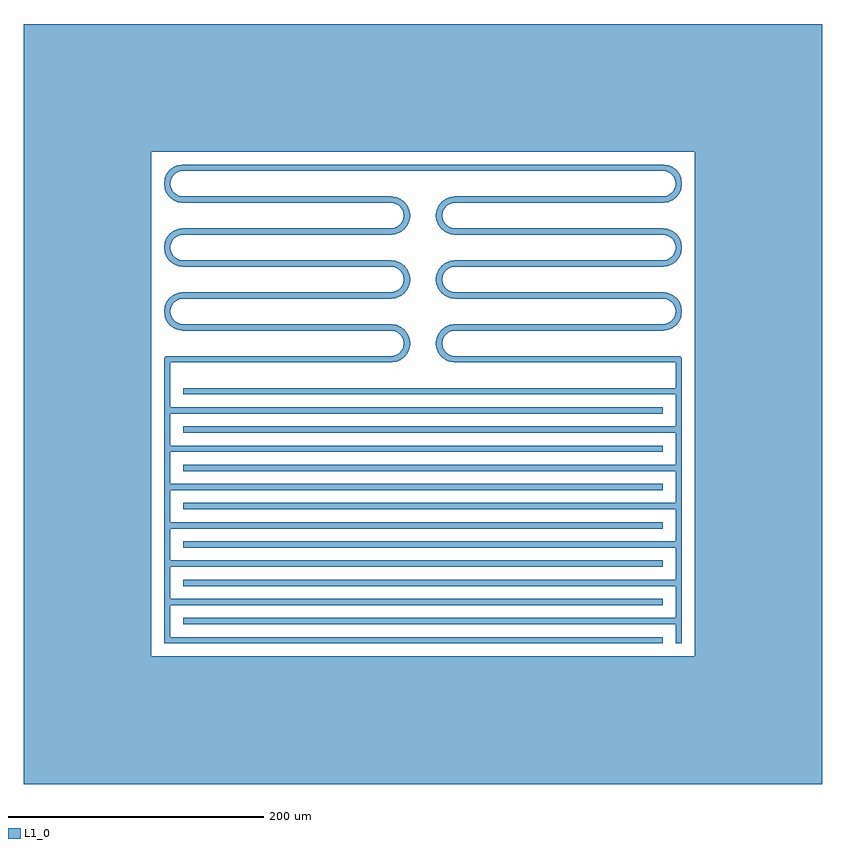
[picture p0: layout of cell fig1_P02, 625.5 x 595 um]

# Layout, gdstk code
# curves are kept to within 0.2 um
import gdstk
lib = gdstk.Library(unit=1e-6, precision=1e-09)
def R(c, l, rs):  # rectangles x0, y0, x1, y1
    for r in rs: c.add(gdstk.rectangle(r[:2], r[2:], *l))
def A(c, l, x, y, w, h, nx, ny, dx, dy):  # array of equal rectangles
    R(c, l, [(x+i*dx, y+j*dy, x+i*dx+w, y+j*dy+h) for i in range(nx) for j in range(ny)])
def P(c, l, *ps):  # polygons
    for p in ps: c.add(gdstk.Polygon(p, *l))
L1_0 = (1, 0)

fig1_p02 = lib.new_cell('fig1_P02')
A(fig1_p02, L1_0, -202.749, 0, 390.498, 5, 1, 7, 0, 30)
A(fig1_p02, L1_0, -187.749, 15, 390.498, 5, 1, 7, 0, 30)
A(fig1_p02, L1_0, -187.749, 245, 162.749, 5, 1, 5, 0, 25)
A(fig1_p02, L1_0, 25, 245, 162.749, 5, 1, 5, 0, 25)
R(fig1_p02, L1_0, [(-312.749,-110,312.749,-10), (-312.749,-10,-212.749,385), (212.749,-10,312.749,385), (-202.749,0,-197.749,200), (197.749,0,202.749,200), (-202.749,197.5,-197.749,222.5), (197.749,197.5,202.749,222.5), (-200.249,220,-25,225), (25,220,200.249,225), (-187.749,370,187.749,375), (-312.749,385,312.749,485)])
P(fig1_p02, L1_0, [(14.979,334.674),(10.021,335.326),(10.447,338.562),(15.405,337.909)],
  [(12.926,335.735),(11.158,336.467),(10.426,338.235),(11.158,340.003),(12.926,340.735),(14.694,340.003),(15.426,338.235),(14.694,336.467)],
  [(12.5,332.5),(10.732,333.232),(10,335),(10.732,336.768),(12.5,337.5),(14.268,336.768),(15,335),(14.268,333.232)],
  [(195.521,347.191),(192.477,351.158),(195.066,353.145),(198.11,349.178)],
  [(191.941,345.616),(190.028,350.236),(193.042,351.484),(194.956,346.865)],
  [(188.075,345.021),(187.423,349.979),(190.658,350.405),(191.311,345.447)],
  [(190.658,369.595),(187.423,370.021),(188.075,374.979),(191.311,374.553)],
  [(193.042,368.516),(190.028,369.764),(191.941,374.384),(194.956,373.135)],
  [(195.066,366.855),(192.477,368.842),(195.521,372.809),(198.11,370.822)],
  [(196.591,364.728),(194.604,367.317),(198.571,370.361),(200.558,367.772)],
  [(197.513,362.279),(196.265,365.293),(200.884,367.207),(202.133,364.192)],
  [(197.77,359.674),(197.344,362.909),(202.302,363.562),(202.728,360.326)],
  [(202.302,356.438),(197.344,357.091),(197.77,360.326),(202.728,359.674)],
  [(187.749,370),(185.981,370.732),(185.249,372.5),(185.981,374.268),(187.749,375),(189.517,374.268),(190.249,372.5),(189.517,370.732)],
  [(190.984,369.574),(189.216,370.306),(188.484,372.074),(189.216,373.842),(190.984,374.574),(192.752,373.842),(193.484,372.074),(192.752,370.306)],
  [(193.999,368.325),(192.231,369.058),(191.499,370.825),(192.231,372.593),(193.999,373.325),(195.767,372.593),(196.499,370.825),(195.767,369.058)],
  [(196.588,366.339),(194.82,367.071),(194.088,368.839),(194.82,370.607),(196.588,371.339),(198.356,370.607),(199.088,368.839),(198.356,367.071)],
  [(198.574,363.75),(196.807,364.482),(196.074,366.25),(196.807,368.018),(198.574,368.75),(200.342,368.018),(201.074,366.25),(200.342,364.482)],
  [(199.823,360.735),(198.055,361.467),(197.323,363.235),(198.055,365.003),(199.823,365.735),(201.591,365.003),(202.323,363.235),(201.591,361.467)],
  [(200.249,357.5),(198.481,358.232),(197.749,360),(198.481,361.768),(200.249,362.5),(202.017,361.768),(202.749,360),(202.017,358.232)],
  [(199.823,354.265),(198.055,354.997),(197.323,356.765),(198.055,358.533),(199.823,359.265),(201.591,358.533),(202.323,356.765),(201.591,354.997)],
  [(198.574,351.25),(196.807,351.982),(196.074,353.75),(196.807,355.518),(198.574,356.25),(200.342,355.518),(201.074,353.75),(200.342,351.982)],
  [(196.588,348.661),(194.82,349.393),(194.088,351.161),(194.82,352.929),(196.588,353.661),(198.356,352.929),(199.088,351.161),(198.356,349.393)],
  [(193.999,346.675),(192.231,347.407),(191.499,349.175),(192.231,350.942),(193.999,351.675),(195.767,350.942),(196.499,349.175),(195.767,347.407)],
  [(190.984,345.426),(189.216,346.158),(188.484,347.926),(189.216,349.694),(190.984,350.426),(192.752,349.694),(193.484,347.926),(192.752,346.158)],
  [(187.749,345),(185.981,345.732),(185.249,347.5),(185.981,349.268),(187.749,350),(189.517,349.268),(190.249,347.5),(189.517,345.732)],
  [(200.884,352.793),(196.265,354.707),(197.513,357.721),(202.133,355.808)],
  [(198.571,349.639),(194.604,352.683),(196.591,355.272),(200.558,352.228)],
  [(19.707,343.516),(17.793,348.135),(20.808,349.384),(22.721,344.764)],
  [(17.683,341.855),(14.639,345.822),(17.228,347.809),(20.272,343.842)],
  [(16.158,339.728),(12.191,342.772),(14.178,345.361),(18.145,342.317)],
  [(25,345),(23.232,345.732),(22.5,347.5),(23.232,349.268),(25,350),(26.768,349.268),(27.5,347.5),(26.768,345.732)],
  [(21.765,344.574),(19.997,345.306),(19.265,347.074),(19.997,348.842),(21.765,349.574),(23.533,348.842),(24.265,347.074),(23.533,345.306)],
  [(18.75,343.325),(16.982,344.058),(16.25,345.825),(16.982,347.593),(18.75,348.325),(20.518,347.593),(21.25,345.825),(20.518,344.058)],
  [(16.161,341.339),(14.393,342.071),(13.661,343.839),(14.393,345.607),(16.161,346.339),(17.929,345.607),(18.661,343.839),(17.929,342.071)],
  [(14.175,338.75),(12.407,339.482),(11.675,341.25),(12.407,343.018),(14.175,343.75),(15.942,343.018),(16.675,341.25),(15.942,339.482)],
  [(15.236,337.279),(10.616,339.192),(11.865,342.207),(16.484,340.293)],
  [(22.091,344.595),(21.438,349.553),(24.674,349.979),(25.326,345.021)],
  [(16.158,239.728),(12.191,242.772),(14.178,245.361),(18.145,242.317)],
  [(15.236,237.279),(10.616,239.192),(11.865,242.207),(16.484,240.293)],
  [(14.979,234.674),(10.021,235.326),(10.447,238.562),(15.405,237.909)],
  [(10.447,231.438),(10.021,234.674),(14.979,235.326),(15.405,232.091)],
  [(11.865,227.793),(10.616,230.808),(15.236,232.721),(16.484,229.707)],
  [(14.178,224.639),(12.191,227.228),(16.158,230.272),(18.145,227.683)],
  [(17.228,222.191),(14.639,224.178),(17.683,228.145),(20.272,226.158)],
  [(20.808,220.616),(17.793,221.865),(19.707,226.484),(22.721,225.236)],
  [(24.674,220.021),(21.438,220.447),(22.091,225.405),(25.326,224.979)],
  [(20.808,320.616),(17.793,321.865),(19.707,326.484),(22.721,325.236)],
  [(24.674,320.021),(21.438,320.447),(22.091,325.405),(25.326,324.979)],
  [(10.447,331.438),(10.021,334.674),(14.979,335.326),(15.405,332.091)],
  [(11.865,327.793),(10.616,330.808),(15.236,332.721),(16.484,329.707)],
  [(22.091,294.595),(21.438,299.553),(24.674,299.979),(25.326,295.021)],
  [(19.707,293.516),(17.793,298.135),(20.808,299.384),(22.721,294.764)],
  [(17.683,291.855),(14.639,295.822),(17.228,297.809),(20.272,293.842)],
  [(16.158,289.728),(12.191,292.772),(14.178,295.361),(18.145,292.317)],
  [(15.236,287.279),(10.616,289.192),(11.865,292.207),(16.484,290.293)],
  [(14.979,284.674),(10.021,285.326),(10.447,288.562),(15.405,287.909)],
  [(10.447,281.438),(10.021,284.674),(14.979,285.326),(15.405,282.091)],
  [(11.865,277.793),(10.616,280.808),(15.236,282.721),(16.484,279.707)],
  [(14.178,274.639),(12.191,277.228),(16.158,280.272),(18.145,277.683)],
  [(17.228,272.191),(14.639,274.178),(17.683,278.145),(20.272,276.158)],
  [(20.808,270.616),(17.793,271.865),(19.707,276.484),(22.721,275.236)],
  [(24.674,270.021),(21.438,270.447),(22.091,275.405),(25.326,274.979)],
  [(14.178,324.639),(12.191,327.228),(16.158,330.272),(18.145,327.683)],
  [(17.228,322.191),(14.639,324.178),(17.683,328.145),(20.272,326.158)],
  [(22.091,244.595),(21.438,249.553),(24.674,249.979),(25.326,245.021)],
  [(19.707,243.516),(17.793,248.135),(20.808,249.384),(22.721,244.764)],
  [(17.683,241.855),(14.639,245.822),(17.228,247.809),(20.272,243.842)],
  [(12.926,329.265),(11.158,329.997),(10.426,331.765),(11.158,333.533),(12.926,334.265),(14.694,333.533),(15.426,331.765),(14.694,329.997)],
  [(14.175,326.25),(12.407,326.982),(11.675,328.75),(12.407,330.518),(14.175,331.25),(15.942,330.518),(16.675,328.75),(15.942,326.982)],
  [(16.161,323.661),(14.393,324.393),(13.661,326.161),(14.393,327.929),(16.161,328.661),(17.929,327.929),(18.661,326.161),(17.929,324.393)],
  [(18.75,321.675),(16.982,322.407),(16.25,324.175),(16.982,325.942),(18.75,326.675),(20.518,325.942),(21.25,324.175),(20.518,322.407)],
  [(21.765,320.426),(19.997,321.158),(19.265,322.926),(19.997,324.694),(21.765,325.426),(23.533,324.694),(24.265,322.926),(23.533,321.158)],
  [(25,320),(23.232,320.732),(22.5,322.5),(23.232,324.268),(25,325),(26.768,324.268),(27.5,322.5),(26.768,320.732)],
  [(25,295),(23.232,295.732),(22.5,297.5),(23.232,299.268),(25,300),(26.768,299.268),(27.5,297.5),(26.768,295.732)],
  [(21.765,294.574),(19.997,295.306),(19.265,297.074),(19.997,298.842),(21.765,299.574),(23.533,298.842),(24.265,297.074),(23.533,295.306)],
  [(18.75,293.325),(16.982,294.058),(16.25,295.825),(16.982,297.593),(18.75,298.325),(20.518,297.593),(21.25,295.825),(20.518,294.058)],
  [(16.161,291.339),(14.393,292.071),(13.661,293.839),(14.393,295.607),(16.161,296.339),(17.929,295.607),(18.661,293.839),(17.929,292.071)],
  [(14.175,288.75),(12.407,289.482),(11.675,291.25),(12.407,293.018),(14.175,293.75),(15.942,293.018),(16.675,291.25),(15.942,289.482)],
  [(12.926,285.735),(11.158,286.467),(10.426,288.235),(11.158,290.003),(12.926,290.735),(14.694,290.003),(15.426,288.235),(14.694,286.467)],
  [(12.5,282.5),(10.732,283.232),(10,285),(10.732,286.768),(12.5,287.5),(14.268,286.768),(15,285),(14.268,283.232)],
  [(12.926,279.265),(11.158,279.997),(10.426,281.765),(11.158,283.533),(12.926,284.265),(14.694,283.533),(15.426,281.765),(14.694,279.997)],
  [(14.175,276.25),(12.407,276.982),(11.675,278.75),(12.407,280.518),(14.175,281.25),(15.942,280.518),(16.675,278.75),(15.942,276.982)],
  [(16.161,273.661),(14.393,274.393),(13.661,276.161),(14.393,277.929),(16.161,278.661),(17.929,277.929),(18.661,276.161),(17.929,274.393)],
  [(18.75,271.675),(16.982,272.407),(16.25,274.175),(16.982,275.942),(18.75,276.675),(20.518,275.942),(21.25,274.175),(20.518,272.407)],
  [(21.765,270.426),(19.997,271.158),(19.265,272.926),(19.997,274.694),(21.765,275.426),(23.533,274.694),(24.265,272.926),(23.533,271.158)],
  [(25,270),(23.232,270.732),(22.5,272.5),(23.232,274.268),(25,275),(26.768,274.268),(27.5,272.5),(26.768,270.732)],
  [(25,245),(23.232,245.732),(22.5,247.5),(23.232,249.268),(25,250),(26.768,249.268),(27.5,247.5),(26.768,245.732)],
  [(21.765,244.574),(19.997,245.306),(19.265,247.074),(19.997,248.842),(21.765,249.574),(23.533,248.842),(24.265,247.074),(23.533,245.306)],
  [(18.75,243.325),(16.982,244.058),(16.25,245.825),(16.982,247.593),(18.75,248.325),(20.518,247.593),(21.25,245.825),(20.518,244.058)],
  [(16.161,241.339),(14.393,242.071),(13.661,243.839),(14.393,245.607),(16.161,246.339),(17.929,245.607),(18.661,243.839),(17.929,242.071)],
  [(14.175,238.75),(12.407,239.482),(11.675,241.25),(12.407,243.018),(14.175,243.75),(15.942,243.018),(16.675,241.25),(15.942,239.482)],
  [(12.926,235.735),(11.158,236.467),(10.426,238.235),(11.158,240.003),(12.926,240.735),(14.694,240.003),(15.426,238.235),(14.694,236.467)],
  [(12.5,232.5),(10.732,233.232),(10,235),(10.732,236.768),(12.5,237.5),(14.268,236.768),(15,235),(14.268,233.232)],
  [(12.926,229.265),(11.158,229.997),(10.426,231.765),(11.158,233.533),(12.926,234.265),(14.694,233.533),(15.426,231.765),(14.694,229.997)],
  [(14.175,226.25),(12.407,226.982),(11.675,228.75),(12.407,230.518),(14.175,231.25),(15.942,230.518),(16.675,228.75),(15.942,226.982)],
  [(16.161,223.661),(14.393,224.393),(13.661,226.161),(14.393,227.929),(16.161,228.661),(17.929,227.929),(18.661,226.161),(17.929,224.393)],
  [(18.75,221.675),(16.982,222.407),(16.25,224.175),(16.982,225.942),(18.75,226.675),(20.518,225.942),(21.25,224.175),(20.518,222.407)],
  [(21.765,220.426),(19.997,221.158),(19.265,222.926),(19.997,224.694),(21.765,225.426),(23.533,224.694),(24.265,222.926),(23.533,221.158)],
  [(25,220),(23.232,220.732),(22.5,222.5),(23.232,224.268),(25,225),(26.768,224.268),(27.5,222.5),(26.768,220.732)],
  [(190.984,319.574),(189.216,320.306),(188.484,322.074),(189.216,323.842),(190.984,324.574),(192.752,323.842),(193.484,322.074),(192.752,320.306)],
  [(193.999,318.325),(192.231,319.058),(191.499,320.825),(192.231,322.593),(193.999,323.325),(195.767,322.593),(196.499,320.825),(195.767,319.058)],
  [(196.588,316.339),(194.82,317.071),(194.088,318.839),(194.82,320.607),(196.588,321.339),(198.356,320.607),(199.088,318.839),(198.356,317.071)],
  [(198.574,313.75),(196.807,314.482),(196.074,316.25),(196.807,318.018),(198.574,318.75),(200.342,318.018),(201.074,316.25),(200.342,314.482)],
  [(199.823,310.735),(198.055,311.467),(197.323,313.235),(198.055,315.003),(199.823,315.735),(201.591,315.003),(202.323,313.235),(201.591,311.467)],
  [(200.249,307.5),(198.481,308.232),(197.749,310),(198.481,311.768),(200.249,312.5),(202.017,311.768),(202.749,310),(202.017,308.232)],
  [(199.823,304.265),(198.055,304.997),(197.323,306.765),(198.055,308.533),(199.823,309.265),(201.591,308.533),(202.323,306.765),(201.591,304.997)],
  [(198.574,301.25),(196.807,301.982),(196.074,303.75),(196.807,305.518),(198.574,306.25),(200.342,305.518),(201.074,303.75),(200.342,301.982)],
  [(196.588,298.661),(194.82,299.393),(194.088,301.161),(194.82,302.929),(196.588,303.661),(198.356,302.929),(199.088,301.161),(198.356,299.393)],
  [(193.999,296.675),(192.231,297.407),(191.499,299.175),(192.231,300.942),(193.999,301.675),(195.767,300.942),(196.499,299.175),(195.767,297.407)],
  [(190.984,295.426),(189.216,296.158),(188.484,297.926),(189.216,299.694),(190.984,300.426),(192.752,299.694),(193.484,297.926),(192.752,296.158)],
  [(187.749,295),(185.981,295.732),(185.249,297.5),(185.981,299.268),(187.749,300),(189.517,299.268),(190.249,297.5),(189.517,295.732)],
  [(195.066,266.855),(192.477,268.842),(195.521,272.809),(198.11,270.822)],
  [(196.591,264.728),(194.604,267.317),(198.571,270.361),(200.558,267.772)],
  [(197.513,262.279),(196.265,265.293),(200.884,267.207),(202.133,264.192)],
  [(197.77,259.674),(197.344,262.909),(202.302,263.562),(202.728,260.326)],
  [(202.302,256.438),(197.344,257.091),(197.77,260.326),(202.728,259.674)],
  [(200.884,252.793),(196.265,254.707),(197.513,257.721),(202.133,255.808)],
  [(198.571,249.639),(194.604,252.683),(196.591,255.272),(200.558,252.228)],
  [(195.521,247.191),(192.477,251.158),(195.066,253.145),(198.11,249.178)],
  [(191.941,245.616),(190.028,250.236),(193.042,251.484),(194.956,246.865)],
  [(188.075,245.021),(187.423,249.979),(190.658,250.405),(191.311,245.447)],
  [(190.658,319.595),(187.423,320.021),(188.075,324.979),(191.311,324.553)],
  [(193.042,318.516),(190.028,319.764),(191.941,324.384),(194.956,323.135)],
  [(195.066,316.855),(192.477,318.842),(195.521,322.809),(198.11,320.822)],
  [(187.749,270),(185.981,270.732),(185.249,272.5),(185.981,274.268),(187.749,275),(189.517,274.268),(190.249,272.5),(189.517,270.732)],
  [(190.984,269.574),(189.216,270.306),(188.484,272.074),(189.216,273.842),(190.984,274.574),(192.752,273.842),(193.484,272.074),(192.752,270.306)],
  [(193.999,268.325),(192.231,269.058),(191.499,270.825),(192.231,272.593),(193.999,273.325),(195.767,272.593),(196.499,270.825),(195.767,269.058)],
  [(196.588,266.339),(194.82,267.071),(194.088,268.839),(194.82,270.607),(196.588,271.339),(198.356,270.607),(199.088,268.839),(198.356,267.071)],
  [(198.574,263.75),(196.807,264.482),(196.074,266.25),(196.807,268.018),(198.574,268.75),(200.342,268.018),(201.074,266.25),(200.342,264.482)],
  [(199.823,260.735),(198.055,261.467),(197.323,263.235),(198.055,265.003),(199.823,265.735),(201.591,265.003),(202.323,263.235),(201.591,261.467)],
  [(200.249,257.5),(198.481,258.232),(197.749,260),(198.481,261.768),(200.249,262.5),(202.017,261.768),(202.749,260),(202.017,258.232)],
  [(199.823,254.265),(198.055,254.997),(197.323,256.765),(198.055,258.533),(199.823,259.265),(201.591,258.533),(202.323,256.765),(201.591,254.997)],
  [(198.574,251.25),(196.807,251.982),(196.074,253.75),(196.807,255.518),(198.574,256.25),(200.342,255.518),(201.074,253.75),(200.342,251.982)],
  [(196.588,248.661),(194.82,249.393),(194.088,251.161),(194.82,252.929),(196.588,253.661),(198.356,252.929),(199.088,251.161),(198.356,249.393)],
  [(193.999,246.675),(192.231,247.407),(191.499,249.175),(192.231,250.942),(193.999,251.675),(195.767,250.942),(196.499,249.175),(195.767,247.407)],
  [(190.984,245.426),(189.216,246.158),(188.484,247.926),(189.216,249.694),(190.984,250.426),(192.752,249.694),(193.484,247.926),(192.752,246.158)],
  [(187.749,245),(185.981,245.732),(185.249,247.5),(185.981,249.268),(187.749,250),(189.517,249.268),(190.249,247.5),(189.517,245.732)],
  [(196.591,314.728),(194.604,317.317),(198.571,320.361),(200.558,317.772)],
  [(197.513,312.279),(196.265,315.293),(200.884,317.207),(202.133,314.192)],
  [(197.77,309.674),(197.344,312.909),(202.302,313.562),(202.728,310.326)],
  [(202.302,306.438),(197.344,307.091),(197.77,310.326),(202.728,309.674)],
  [(200.884,302.793),(196.265,304.707),(197.513,307.721),(202.133,305.808)],
  [(198.571,299.639),(194.604,302.683),(196.591,305.272),(200.558,302.228)],
  [(195.521,297.191),(192.477,301.158),(195.066,303.145),(198.11,299.178)],
  [(191.941,295.616),(190.028,300.236),(193.042,301.484),(194.956,296.865)],
  [(188.075,295.021),(187.423,299.979),(190.658,300.405),(191.311,295.447)],
  [(190.658,269.595),(187.423,270.021),(188.075,274.979),(191.311,274.553)],
  [(193.042,268.516),(190.028,269.764),(191.941,274.384),(194.956,273.135)],
  [(187.749,320),(185.981,320.732),(185.249,322.5),(185.981,324.268),(187.749,325),(189.517,324.268),(190.249,322.5),(189.517,320.732)],
  [(200.249,220),(198.481,220.732),(197.749,222.5),(198.481,224.268),(200.249,225),(202.017,224.268),(202.749,222.5),(202.017,220.732)],
  [(-12.5,332.5),(-14.268,333.232),(-15,335),(-14.268,336.768),(-12.5,337.5),(-10.732,336.768),(-10,335),(-10.732,333.232)],
  [(-12.926,335.735),(-14.694,336.467),(-15.426,338.235),(-14.694,340.003),(-12.926,340.735),(-11.158,340.003),(-10.426,338.235),(-11.158,336.467)],
  [(-14.979,334.674),(-15.405,337.909),(-10.447,338.562),(-10.021,335.326)],
  [(-18.75,343.325),(-20.518,344.058),(-21.25,345.825),(-20.518,347.593),(-18.75,348.325),(-16.982,347.593),(-16.25,345.825),(-16.982,344.058)],
  [(-21.765,344.574),(-23.533,345.306),(-24.265,347.074),(-23.533,348.842),(-21.765,349.574),(-19.997,348.842),(-19.265,347.074),(-19.997,345.306)],
  [(-25,345),(-26.768,345.732),(-27.5,347.5),(-26.768,349.268),(-25,350),(-23.232,349.268),(-22.5,347.5),(-23.232,345.732)],
  [(-14.175,338.75),(-15.942,339.482),(-16.675,341.25),(-15.942,343.018),(-14.175,343.75),(-12.407,343.018),(-11.675,341.25),(-12.407,339.482)],
  [(-15.236,337.279),(-16.484,340.293),(-11.865,342.207),(-10.616,339.192)],
  [(-16.158,339.728),(-18.145,342.317),(-14.178,345.361),(-12.191,342.772)],
  [(-17.683,341.855),(-20.272,343.842),(-17.228,347.809),(-14.639,345.822)],
  [(-19.707,343.516),(-22.721,344.764),(-20.808,349.384),(-17.793,348.135)],
  [(-22.091,344.595),(-25.326,345.021),(-24.674,349.979),(-21.438,349.553)],
  [(-16.161,341.339),(-17.929,342.071),(-18.661,343.839),(-17.929,345.607),(-16.161,346.339),(-14.393,345.607),(-13.661,343.839),(-14.393,342.071)],
  [(-187.749,370),(-189.517,370.732),(-190.249,372.5),(-189.517,374.268),(-187.749,375),(-185.981,374.268),(-185.249,372.5),(-185.981,370.732)],
  [(-187.749,345),(-189.517,345.732),(-190.249,347.5),(-189.517,349.268),(-187.749,350),(-185.981,349.268),(-185.249,347.5),(-185.981,345.732)],
  [(-190.984,345.426),(-192.752,346.158),(-193.484,347.926),(-192.752,349.694),(-190.984,350.426),(-189.216,349.694),(-188.484,347.926),(-189.216,346.158)],
  [(-193.999,346.675),(-195.767,347.407),(-196.499,349.175),(-195.767,350.942),(-193.999,351.675),(-192.231,350.942),(-191.499,349.175),(-192.231,347.407)],
  [(-196.588,348.661),(-198.356,349.393),(-199.088,351.161),(-198.356,352.929),(-196.588,353.661),(-194.82,352.929),(-194.088,351.161),(-194.82,349.393)],
  [(-198.574,351.25),(-200.342,351.982),(-201.074,353.75),(-200.342,355.518),(-198.574,356.25),(-196.807,355.518),(-196.074,353.75),(-196.807,351.982)],
  [(-199.823,354.265),(-201.591,354.997),(-202.323,356.765),(-201.591,358.533),(-199.823,359.265),(-198.055,358.533),(-197.323,356.765),(-198.055,354.997)],
  [(-200.249,357.5),(-202.017,358.232),(-202.749,360),(-202.017,361.768),(-200.249,362.5),(-198.481,361.768),(-197.749,360),(-198.481,358.232)],
  [(-199.823,360.735),(-201.591,361.467),(-202.323,363.235),(-201.591,365.003),(-199.823,365.735),(-198.055,365.003),(-197.323,363.235),(-198.055,361.467)],
  [(-198.574,363.75),(-200.342,364.482),(-201.074,366.25),(-200.342,368.018),(-198.574,368.75),(-196.807,368.018),(-196.074,366.25),(-196.807,364.482)],
  [(-196.588,366.339),(-198.356,367.071),(-199.088,368.839),(-198.356,370.607),(-196.588,371.339),(-194.82,370.607),(-194.088,368.839),(-194.82,367.071)],
  [(-193.999,368.325),(-195.767,369.058),(-196.499,370.825),(-195.767,372.593),(-193.999,373.325),(-192.231,372.593),(-191.499,370.825),(-192.231,369.058)],
  [(-190.984,369.574),(-192.752,370.306),(-193.484,372.074),(-192.752,373.842),(-190.984,374.574),(-189.216,373.842),(-188.484,372.074),(-189.216,370.306)],
  [(-188.075,345.021),(-191.311,345.447),(-190.658,350.405),(-187.423,349.979)],
  [(-191.941,345.616),(-194.956,346.865),(-193.042,351.484),(-190.028,350.236)],
  [(-195.521,347.191),(-198.11,349.178),(-195.066,353.145),(-192.477,351.158)],
  [(-198.571,349.639),(-200.558,352.228),(-196.591,355.272),(-194.604,352.683)],
  [(-200.884,352.793),(-202.133,355.808),(-197.513,357.721),(-196.265,354.707)],
  [(-202.302,356.438),(-202.728,359.674),(-197.77,360.326),(-197.344,357.091)],
  [(-197.77,359.674),(-202.728,360.326),(-202.302,363.562),(-197.344,362.909)],
  [(-197.513,362.279),(-202.133,364.192),(-200.884,367.207),(-196.265,365.293)],
  [(-196.591,364.728),(-200.558,367.772),(-198.571,370.361),(-194.604,367.317)],
  [(-195.066,366.855),(-198.11,370.822),(-195.521,372.809),(-192.477,368.842)],
  [(-193.042,368.516),(-194.956,373.135),(-191.941,374.384),(-190.028,369.764)],
  [(-190.658,369.595),(-191.311,374.553),(-188.075,374.979),(-187.423,370.021)],
  [(-196.588,298.661),(-198.356,299.393),(-199.088,301.161),(-198.356,302.929),(-196.588,303.661),(-194.82,302.929),(-194.088,301.161),(-194.82,299.393)],
  [(-198.574,301.25),(-200.342,301.982),(-201.074,303.75),(-200.342,305.518),(-198.574,306.25),(-196.807,305.518),(-196.074,303.75),(-196.807,301.982)],
  [(-199.823,304.265),(-201.591,304.997),(-202.323,306.765),(-201.591,308.533),(-199.823,309.265),(-198.055,308.533),(-197.323,306.765),(-198.055,304.997)],
  [(-200.249,307.5),(-202.017,308.232),(-202.749,310),(-202.017,311.768),(-200.249,312.5),(-198.481,311.768),(-197.749,310),(-198.481,308.232)],
  [(-199.823,310.735),(-201.591,311.467),(-202.323,313.235),(-201.591,315.003),(-199.823,315.735),(-198.055,315.003),(-197.323,313.235),(-198.055,311.467)],
  [(-188.075,245.021),(-191.311,245.447),(-190.658,250.405),(-187.423,249.979)],
  [(-191.941,245.616),(-194.956,246.865),(-193.042,251.484),(-190.028,250.236)],
  [(-195.521,247.191),(-198.11,249.178),(-195.066,253.145),(-192.477,251.158)],
  [(-198.571,249.639),(-200.558,252.228),(-196.591,255.272),(-194.604,252.683)],
  [(-200.884,252.793),(-202.133,255.808),(-197.513,257.721),(-196.265,254.707)],
  [(-202.302,256.438),(-202.728,259.674),(-197.77,260.326),(-197.344,257.091)],
  [(-197.77,259.674),(-202.728,260.326),(-202.302,263.562),(-197.344,262.909)],
  [(-197.513,262.279),(-202.133,264.192),(-200.884,267.207),(-196.265,265.293)],
  [(-196.591,264.728),(-200.558,267.772),(-198.571,270.361),(-194.604,267.317)],
  [(-195.066,266.855),(-198.11,270.822),(-195.521,272.809),(-192.477,268.842)],
  [(-193.042,268.516),(-194.956,273.135),(-191.941,274.384),(-190.028,269.764)],
  [(-190.658,269.595),(-191.311,274.553),(-188.075,274.979),(-187.423,270.021)],
  [(-198.574,313.75),(-200.342,314.482),(-201.074,316.25),(-200.342,318.018),(-198.574,318.75),(-196.807,318.018),(-196.074,316.25),(-196.807,314.482)],
  [(-196.588,316.339),(-198.356,317.071),(-199.088,318.839),(-198.356,320.607),(-196.588,321.339),(-194.82,320.607),(-194.088,318.839),(-194.82,317.071)],
  [(-188.075,295.021),(-191.311,295.447),(-190.658,300.405),(-187.423,299.979)],
  [(-191.941,295.616),(-194.956,296.865),(-193.042,301.484),(-190.028,300.236)],
  [(-195.521,297.191),(-198.11,299.178),(-195.066,303.145),(-192.477,301.158)],
  [(-198.571,299.639),(-200.558,302.228),(-196.591,305.272),(-194.604,302.683)],
  [(-200.884,302.793),(-202.133,305.808),(-197.513,307.721),(-196.265,304.707)],
  [(-202.302,306.438),(-202.728,309.674),(-197.77,310.326),(-197.344,307.091)],
  [(-197.77,309.674),(-202.728,310.326),(-202.302,313.562),(-197.344,312.909)],
  [(-197.513,312.279),(-202.133,314.192),(-200.884,317.207),(-196.265,315.293)],
  [(-196.591,314.728),(-200.558,317.772),(-198.571,320.361),(-194.604,317.317)],
  [(-195.066,316.855),(-198.11,320.822),(-195.521,322.809),(-192.477,318.842)],
  [(-193.042,318.516),(-194.956,323.135),(-191.941,324.384),(-190.028,319.764)],
  [(-190.658,319.595),(-191.311,324.553),(-188.075,324.979),(-187.423,320.021)],
  [(-193.999,318.325),(-195.767,319.058),(-196.499,320.825),(-195.767,322.593),(-193.999,323.325),(-192.231,322.593),(-191.499,320.825),(-192.231,319.058)],
  [(-190.984,319.574),(-192.752,320.306),(-193.484,322.074),(-192.752,323.842),(-190.984,324.574),(-189.216,323.842),(-188.484,322.074),(-189.216,320.306)],
  [(-187.749,320),(-189.517,320.732),(-190.249,322.5),(-189.517,324.268),(-187.749,325),(-185.981,324.268),(-185.249,322.5),(-185.981,320.732)],
  [(-200.249,220),(-202.017,220.732),(-202.749,222.5),(-202.017,224.268),(-200.249,225),(-198.481,224.268),(-197.749,222.5),(-198.481,220.732)],
  [(-187.749,245),(-189.517,245.732),(-190.249,247.5),(-189.517,249.268),(-187.749,250),(-185.981,249.268),(-185.249,247.5),(-185.981,245.732)],
  [(-190.984,245.426),(-192.752,246.158),(-193.484,247.926),(-192.752,249.694),(-190.984,250.426),(-189.216,249.694),(-188.484,247.926),(-189.216,246.158)],
  [(-193.999,246.675),(-195.767,247.407),(-196.499,249.175),(-195.767,250.942),(-193.999,251.675),(-192.231,250.942),(-191.499,249.175),(-192.231,247.407)],
  [(-196.588,248.661),(-198.356,249.393),(-199.088,251.161),(-198.356,252.929),(-196.588,253.661),(-194.82,252.929),(-194.088,251.161),(-194.82,249.393)],
  [(-198.574,251.25),(-200.342,251.982),(-201.074,253.75),(-200.342,255.518),(-198.574,256.25),(-196.807,255.518),(-196.074,253.75),(-196.807,251.982)],
  [(-199.823,254.265),(-201.591,254.997),(-202.323,256.765),(-201.591,258.533),(-199.823,259.265),(-198.055,258.533),(-197.323,256.765),(-198.055,254.997)],
  [(-200.249,257.5),(-202.017,258.232),(-202.749,260),(-202.017,261.768),(-200.249,262.5),(-198.481,261.768),(-197.749,260),(-198.481,258.232)],
  [(-199.823,260.735),(-201.591,261.467),(-202.323,263.235),(-201.591,265.003),(-199.823,265.735),(-198.055,265.003),(-197.323,263.235),(-198.055,261.467)],
  [(-198.574,263.75),(-200.342,264.482),(-201.074,266.25),(-200.342,268.018),(-198.574,268.75),(-196.807,268.018),(-196.074,266.25),(-196.807,264.482)],
  [(-196.588,266.339),(-198.356,267.071),(-199.088,268.839),(-198.356,270.607),(-196.588,271.339),(-194.82,270.607),(-194.088,268.839),(-194.82,267.071)],
  [(-193.999,268.325),(-195.767,269.058),(-196.499,270.825),(-195.767,272.593),(-193.999,273.325),(-192.231,272.593),(-191.499,270.825),(-192.231,269.058)],
  [(-190.984,269.574),(-192.752,270.306),(-193.484,272.074),(-192.752,273.842),(-190.984,274.574),(-189.216,273.842),(-188.484,272.074),(-189.216,270.306)],
  [(-187.749,270),(-189.517,270.732),(-190.249,272.5),(-189.517,274.268),(-187.749,275),(-185.981,274.268),(-185.249,272.5),(-185.981,270.732)],
  [(-187.749,295),(-189.517,295.732),(-190.249,297.5),(-189.517,299.268),(-187.749,300),(-185.981,299.268),(-185.249,297.5),(-185.981,295.732)],
  [(-190.984,295.426),(-192.752,296.158),(-193.484,297.926),(-192.752,299.694),(-190.984,300.426),(-189.216,299.694),(-188.484,297.926),(-189.216,296.158)],
  [(-193.999,296.675),(-195.767,297.407),(-196.499,299.175),(-195.767,300.942),(-193.999,301.675),(-192.231,300.942),(-191.499,299.175),(-192.231,297.407)],
  [(-25,245),(-26.768,245.732),(-27.5,247.5),(-26.768,249.268),(-25,250),(-23.232,249.268),(-22.5,247.5),(-23.232,245.732)],
  [(-25,320),(-26.768,320.732),(-27.5,322.5),(-26.768,324.268),(-25,325),(-23.232,324.268),(-22.5,322.5),(-23.232,320.732)],
  [(-21.765,320.426),(-23.533,321.158),(-24.265,322.926),(-23.533,324.694),(-21.765,325.426),(-19.997,324.694),(-19.265,322.926),(-19.997,321.158)],
  [(-18.75,321.675),(-20.518,322.407),(-21.25,324.175),(-20.518,325.942),(-18.75,326.675),(-16.982,325.942),(-16.25,324.175),(-16.982,322.407)],
  [(-16.161,323.661),(-17.929,324.393),(-18.661,326.161),(-17.929,327.929),(-16.161,328.661),(-14.393,327.929),(-13.661,326.161),(-14.393,324.393)],
  [(-14.175,326.25),(-15.942,326.982),(-16.675,328.75),(-15.942,330.518),(-14.175,331.25),(-12.407,330.518),(-11.675,328.75),(-12.407,326.982)],
  [(-12.926,329.265),(-14.694,329.997),(-15.426,331.765),(-14.694,333.533),(-12.926,334.265),(-11.158,333.533),(-10.426,331.765),(-11.158,329.997)],
  [(-25,270),(-26.768,270.732),(-27.5,272.5),(-26.768,274.268),(-25,275),(-23.232,274.268),(-22.5,272.5),(-23.232,270.732)],
  [(-21.765,270.426),(-23.533,271.158),(-24.265,272.926),(-23.533,274.694),(-21.765,275.426),(-19.997,274.694),(-19.265,272.926),(-19.997,271.158)],
  [(-18.75,271.675),(-20.518,272.407),(-21.25,274.175),(-20.518,275.942),(-18.75,276.675),(-16.982,275.942),(-16.25,274.175),(-16.982,272.407)],
  [(-16.161,273.661),(-17.929,274.393),(-18.661,276.161),(-17.929,277.929),(-16.161,278.661),(-14.393,277.929),(-13.661,276.161),(-14.393,274.393)],
  [(-24.674,270.021),(-25.326,274.979),(-22.091,275.405),(-21.438,270.447)],
  [(-20.808,270.616),(-22.721,275.236),(-19.707,276.484),(-17.793,271.865)],
  [(-17.228,272.191),(-20.272,276.158),(-17.683,278.145),(-14.639,274.178)],
  [(-14.178,274.639),(-18.145,277.683),(-16.158,280.272),(-12.191,277.228)],
  [(-11.865,277.793),(-16.484,279.707),(-15.236,282.721),(-10.616,280.808)],
  [(-10.447,281.438),(-15.405,282.091),(-14.979,285.326),(-10.021,284.674)],
  [(-14.979,284.674),(-15.405,287.909),(-10.447,288.562),(-10.021,285.326)],
  [(-15.236,287.279),(-16.484,290.293),(-11.865,292.207),(-10.616,289.192)],
  [(-16.158,289.728),(-18.145,292.317),(-14.178,295.361),(-12.191,292.772)],
  [(-17.683,291.855),(-20.272,293.842),(-17.228,297.809),(-14.639,295.822)],
  [(-19.707,293.516),(-22.721,294.764),(-20.808,299.384),(-17.793,298.135)],
  [(-22.091,294.595),(-25.326,295.021),(-24.674,299.979),(-21.438,299.553)],
  [(-14.175,276.25),(-15.942,276.982),(-16.675,278.75),(-15.942,280.518),(-14.175,281.25),(-12.407,280.518),(-11.675,278.75),(-12.407,276.982)],
  [(-12.926,279.265),(-14.694,279.997),(-15.426,281.765),(-14.694,283.533),(-12.926,284.265),(-11.158,283.533),(-10.426,281.765),(-11.158,279.997)],
  [(-12.5,282.5),(-14.268,283.232),(-15,285),(-14.268,286.768),(-12.5,287.5),(-10.732,286.768),(-10,285),(-10.732,283.232)],
  [(-12.926,285.735),(-14.694,286.467),(-15.426,288.235),(-14.694,290.003),(-12.926,290.735),(-11.158,290.003),(-10.426,288.235),(-11.158,286.467)],
  [(-14.175,288.75),(-15.942,289.482),(-16.675,291.25),(-15.942,293.018),(-14.175,293.75),(-12.407,293.018),(-11.675,291.25),(-12.407,289.482)],
  [(-16.161,291.339),(-17.929,292.071),(-18.661,293.839),(-17.929,295.607),(-16.161,296.339),(-14.393,295.607),(-13.661,293.839),(-14.393,292.071)],
  [(-18.75,293.325),(-20.518,294.058),(-21.25,295.825),(-20.518,297.593),(-18.75,298.325),(-16.982,297.593),(-16.25,295.825),(-16.982,294.058)],
  [(-21.765,294.574),(-23.533,295.306),(-24.265,297.074),(-23.533,298.842),(-21.765,299.574),(-19.997,298.842),(-19.265,297.074),(-19.997,295.306)],
  [(-25,295),(-26.768,295.732),(-27.5,297.5),(-26.768,299.268),(-25,300),(-23.232,299.268),(-22.5,297.5),(-23.232,295.732)],
  [(-25,220),(-26.768,220.732),(-27.5,222.5),(-26.768,224.268),(-25,225),(-23.232,224.268),(-22.5,222.5),(-23.232,220.732)],
  [(-21.765,220.426),(-23.533,221.158),(-24.265,222.926),(-23.533,224.694),(-21.765,225.426),(-19.997,224.694),(-19.265,222.926),(-19.997,221.158)],
  [(-18.75,221.675),(-20.518,222.407),(-21.25,224.175),(-20.518,225.942),(-18.75,226.675),(-16.982,225.942),(-16.25,224.175),(-16.982,222.407)],
  [(-16.161,223.661),(-17.929,224.393),(-18.661,226.161),(-17.929,227.929),(-16.161,228.661),(-14.393,227.929),(-13.661,226.161),(-14.393,224.393)],
  [(-14.175,226.25),(-15.942,226.982),(-16.675,228.75),(-15.942,230.518),(-14.175,231.25),(-12.407,230.518),(-11.675,228.75),(-12.407,226.982)],
  [(-24.674,320.021),(-25.326,324.979),(-22.091,325.405),(-21.438,320.447)],
  [(-20.808,320.616),(-22.721,325.236),(-19.707,326.484),(-17.793,321.865)],
  [(-17.228,322.191),(-20.272,326.158),(-17.683,328.145),(-14.639,324.178)],
  [(-14.178,324.639),(-18.145,327.683),(-16.158,330.272),(-12.191,327.228)],
  [(-11.865,327.793),(-16.484,329.707),(-15.236,332.721),(-10.616,330.808)],
  [(-10.447,331.438),(-15.405,332.091),(-14.979,335.326),(-10.021,334.674)],
  [(-12.926,229.265),(-14.694,229.997),(-15.426,231.765),(-14.694,233.533),(-12.926,234.265),(-11.158,233.533),(-10.426,231.765),(-11.158,229.997)],
  [(-12.5,232.5),(-14.268,233.232),(-15,235),(-14.268,236.768),(-12.5,237.5),(-10.732,236.768),(-10,235),(-10.732,233.232)],
  [(-12.926,235.735),(-14.694,236.467),(-15.426,238.235),(-14.694,240.003),(-12.926,240.735),(-11.158,240.003),(-10.426,238.235),(-11.158,236.467)],
  [(-14.175,238.75),(-15.942,239.482),(-16.675,241.25),(-15.942,243.018),(-14.175,243.75),(-12.407,243.018),(-11.675,241.25),(-12.407,239.482)],
  [(-24.674,220.021),(-25.326,224.979),(-22.091,225.405),(-21.438,220.447)],
  [(-20.808,220.616),(-22.721,225.236),(-19.707,226.484),(-17.793,221.865)],
  [(-17.228,222.191),(-20.272,226.158),(-17.683,228.145),(-14.639,224.178)],
  [(-14.178,224.639),(-18.145,227.683),(-16.158,230.272),(-12.191,227.228)],
  [(-11.865,227.793),(-16.484,229.707),(-15.236,232.721),(-10.616,230.808)],
  [(-10.447,231.438),(-15.405,232.091),(-14.979,235.326),(-10.021,234.674)],
  [(-14.979,234.674),(-15.405,237.909),(-10.447,238.562),(-10.021,235.326)],
  [(-15.236,237.279),(-16.484,240.293),(-11.865,242.207),(-10.616,239.192)],
  [(-16.158,239.728),(-18.145,242.317),(-14.178,245.361),(-12.191,242.772)],
  [(-17.683,241.855),(-20.272,243.842),(-17.228,247.809),(-14.639,245.822)],
  [(-19.707,243.516),(-22.721,244.764),(-20.808,249.384),(-17.793,248.135)],
  [(-22.091,244.595),(-25.326,245.021),(-24.674,249.979),(-21.438,249.553)],
  [(-16.161,241.339),(-17.929,242.071),(-18.661,243.839),(-17.929,245.607),(-16.161,246.339),(-14.393,245.607),(-13.661,243.839),(-14.393,242.071)],
  [(-18.75,243.325),(-20.518,244.058),(-21.25,245.825),(-20.518,247.593),(-18.75,248.325),(-16.982,247.593),(-16.25,245.825),(-16.982,244.058)],
  [(-21.765,244.574),(-23.533,245.306),(-24.265,247.074),(-23.533,248.842),(-21.765,249.574),(-19.997,248.842),(-19.265,247.074),(-19.997,245.306)])

lib.write_gds('fig1_P02.gds')
